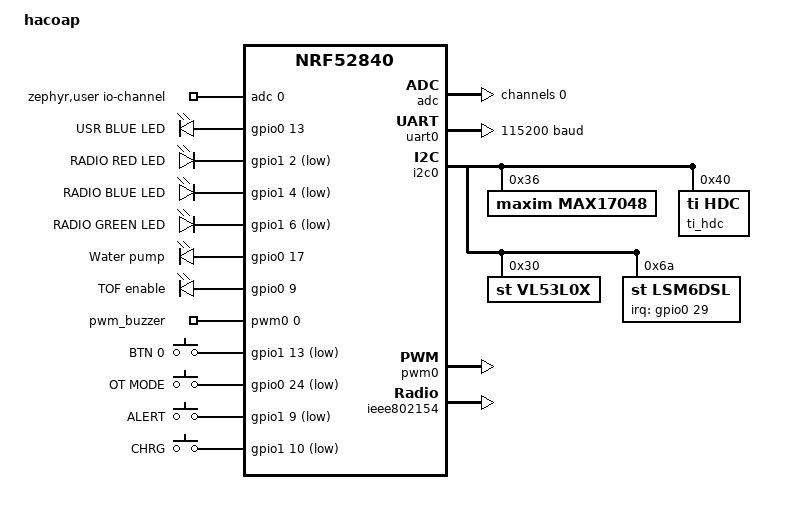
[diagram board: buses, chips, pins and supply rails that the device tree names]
// Copyright (c) 2024 Nordic Semiconductor ASA
// SPDX-License-Identifier: Apache-2.0

/dts-v1/;
#include <nordic/nrf52840_qiaa.dtsi>
#include "hacoap-pinctrl.dtsi"

/ {
	model = "hacoap";
	compatible = "yann-t-hacoap";

	chosen {
		zephyr,sram = &sram0;
		zephyr,flash = &flash0;
		zephyr,code-partition = &slot0_partition;
		zephyr,ieee802154 = &ieee802154;
		zephyr,entropy = &rng;
	};
	zephyr,user {
		io-channels = <&adc 0>;
	};
	leds {
		compatible = "gpio-leds";
		led1: led_1 {
			gpios = <&gpio0 13 GPIO_ACTIVE_HIGH>;
			label = "USR BLUE LED";
		};
		radio_red_led: radio_red_led {
			gpios = <&gpio1 2 GPIO_ACTIVE_LOW>;
			label = "RADIO RED LED";
		};
		radio_blue_led: radio_blue_led {
			gpios = <&gpio1 4 GPIO_ACTIVE_LOW>;
			label = "RADIO BLUE LED";
		};
		radio_green_led: radio_green_led {
			gpios = <&gpio1 6 GPIO_ACTIVE_LOW>;
			label = "RADIO GREEN LED";
		};
		pump1: pump_1 {
			gpios = <&gpio0 17 GPIO_ACTIVE_HIGH>;
			label = "Water pump";
		};
		tofen: tof_en {
			gpios = <&gpio0 9 (GPIO_PULL_UP | GPIO_ACTIVE_HIGH)>;
			label = "TOF enable";
		};
	};
	buzzer {
		 compatible = "pwm-leds";
		 pwm_buzzer: pwm_buzzer {
			     pwms = <&pwm0 0 PWM_KHZ(6) PWM_POLARITY_NORMAL>;
		 };
	};
	buttons {
		compatible = "gpio-keys";
		button0: button_0 {
			gpios = <&gpio1 13 (GPIO_PULL_UP | GPIO_ACTIVE_LOW)>;
			label = "BTN 0";
		};
		button1: button_1 {
			gpios = <&gpio0 24 (GPIO_PULL_UP | GPIO_ACTIVE_LOW)>;
			label = "OT MODE";
		};
		button2: button_2 {
			gpios = <&gpio1 9 (GPIO_PULL_UP | GPIO_ACTIVE_LOW)>;
			label = "ALERT";
		};
		button3: button_3 {
			gpios = <&gpio1 10 (GPIO_PULL_UP | GPIO_ACTIVE_LOW)>;
			label = "CHRG";
		};
	};

	/* These aliases are provided for compatibility with samples */
	aliases {
		user-led = &led1;
		radio-red-led = &radio_red_led;
		radio-blue-led = &radio_blue_led;
		radio-green-led = &radio_green_led;
		pump1 = &pump1;
		tofen = &tofen;
		pwm-buzzer= &pwm_buzzer;
		usr-button = &button0;
		ot-mode = &button1;
		sw2 = &button2;
		bootloader-led0 = &radio_red_led;
		mcuboot-button0 = &button0;
		mcuboot-led0 = &radio_red_led;
		watchdog0 = &wdt0;
	};
};

&adc {
	#address-cells = <1>;
	#size-cells = <0>;
	status = "okay";
	channel@0 {
		reg = <0>;
		zephyr,gain = "ADC_GAIN_1_6";
		zephyr,reference = "ADC_REF_INTERNAL";
		zephyr,acquisition-time = <ADC_ACQ_TIME_DEFAULT>;
		zephyr,input-positive = <NRF_SAADC_AIN0>; /* P0.02 */
		zephyr,resolution = <12>;
	};
};

&gpiote {
	status = "okay";
};

&gpio0 {
	status = "okay";
};

&gpio1 {
	status = "okay";
};

&uart0 {
    compatible = "nordic,nrf-uarte";
    status = "okay";
    current-speed = <115200>;
    pinctrl-0 = <&uart0_default>;
    pinctrl-1 = <&uart0_sleep>;
    pinctrl-names = "default", "sleep";
};

&i2c0 {
	status = "okay";
	compatible = "nordic,nrf-twim";
	pinctrl-0 = <&i2c0_default>;
	pinctrl-1 = <&i2c0_sleep>;
	pinctrl-names = "default", "sleep";
	max17048: max17048@36 {
		compatible = "maxim,max17048";
		status = "ok";
		reg = <0x36>;
	};
	ti_hdc: ti_hdc@40 {
		compatible = "ti,hdc","ti,hdc1080";
		reg = <0x40>;
	};
	vl53l0x@30 {
		compatible = "st,vl53l0x";
		reg = <0x30>;
		label = "VL53L0X";
	};
	lsm6dsl@6a {
		compatible = "st,lsm6dsl";
		status = "okay";
		reg = <0x6a>;
		irq-gpios = <&gpio0 29 GPIO_ACTIVE_HIGH>;
	};
};

&pwm0 {
	status = "okay";
	pinctrl-0 = <&pwm0_default>;
	pinctrl-1 = <&pwm0_sleep>;
	pinctrl-names = "default", "sleep";
};

&ieee802154 {
	status = "okay";
};

&flash0 {
	partitions {
		compatible = "fixed-partitions";
		#address-cells = <1>;
		#size-cells = <1>;
		boot_partition: partition@0 {
			label = "mcuboot";
			reg = <0x00000000 0x0000C000>;
		};
		slot0_partition: partition@c000 {
			label = "image-0";
			reg = <0x0000C000 0x00076000>;
		};
		slot1_partition: partition@82000 {
			label = "image-1";
			reg = <0x00082000 0x00076000>;
		};
		/*
		 * The flash starting at 0x000f8000 and ending at
		 * 0x000fffff is reserved for use by the application.
		 */
		/*
		 * Storage partition will be used by FCB/LittleFS/NVS
		 * if enabled.
		 */
		storage_partition: partition@f8000 {
			label = "storage";
			reg = <0x000f8000 0x00008000>;
		};
	};
};

// zephyr_udc0: &usbd {
// 	compatible = "nordic,nrf-usbd";
// 	status = "okay";
// };





